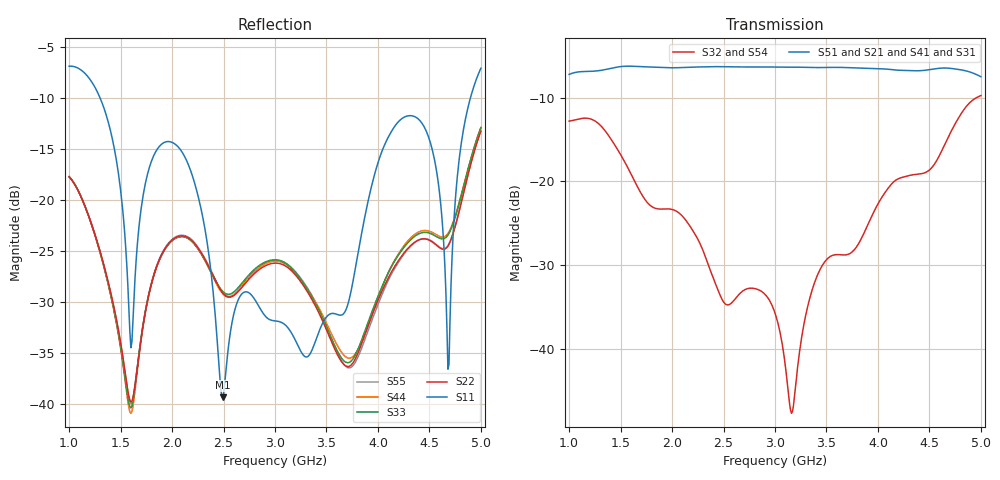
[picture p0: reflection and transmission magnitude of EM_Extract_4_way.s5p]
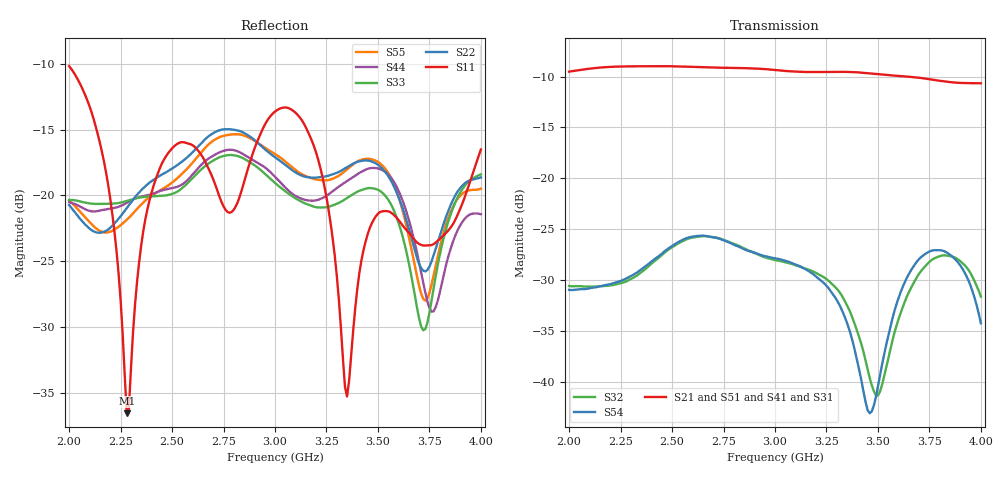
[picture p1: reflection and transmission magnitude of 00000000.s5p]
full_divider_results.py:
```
import skrf as rf
import numpy as np
import matplotlib.pyplot as plt

def main():
    
  line_styles = ['-', '--', ':', '-.']
  line_colors = [f"C{i}" for i in range(20)]
  
  paths = [
    "C:\\Users\\kamaj\\code\\Phased-Array\\src\\awr_output\\correct\\EM_Extract_4_way.s5p",
    "C:\\Users\\kamaj\\code\\Phased-Array\\src\\divider_measurements\\combined\\00000000.s5p", 
    "C:\\Users\\kamaj\\code\\Phased-Array\\src\\awr_output\\correct\\full_00000000.s5p"
  ]
  
  nets = [rf.Network(path) for path in paths]

  fig = plt.figure(figsize=(6, 5))
  ax = fig.add_subplot(1, 1, 1)
  
  ax.plot(nets[0].f / 1e9, nets[0].s_db[:, 0 , 0], linestyle=line_styles[0], color=line_colors[0], label='S11 (4-way EM Extract)')
  ax.plot(nets[1].f / 1e9, nets[1].s_db[:, 0 , 0], linestyle=line_styles[1], color=line_colors[1], label='S11 (4-way Measured)')
  ax.plot(nets[2].f / 1e9, nets[2].s_db[:, 0 , 0], linestyle=line_styles[2], color=line_colors[2], label='S11 (4-way Full Simulated)')
  ax.hlines(-20, xmin=1, xmax=5, colors='black', linestyles=line_styles[2], alpha=0.5)
  
  plt.show()
  
if __name__ == "__main__":
  main()
```
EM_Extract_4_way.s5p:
! AWR Design Environment (19377) Sat Dec 27 02:21:50 2025
! Document = 'EM_Extract_4_way'
! nPorts: 5, nXvals: 401
# GHz S DB R 50
!Freq DBS11 AngS11 DBS12 AngS12 DBS13 AngS13 DBS14 AngS14
!	DBS15 AngS15
!	DBS21 AngS21 DBS22 AngS22 DBS23 AngS23 DBS24 AngS24
!	DBS25 AngS25
!	DBS31 AngS31 DBS32 AngS32 DBS33 AngS33 DBS34 AngS34
!	DBS35 AngS35
!	DBS41 AngS41 DBS42 AngS42 DBS43 AngS43 DBS44 AngS44
!	DBS45 AngS45
!	DBS51 AngS51 DBS52 AngS52 DBS53 AngS53 DBS54 AngS54
!	DBS55 AngS55
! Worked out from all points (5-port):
!   401 points, 1 GHz to 5 GHz, reference 50 ohm
!   strongest paths, dB at 1 GHz, 2 GHz, 3 GHz, 4 GHz, 5 GHz:
!     S51: -7.2, -6.4, -6.3, -6.5, -7.5
!     S21: -7.2, -6.4, -6.3, -6.5, -7.5
!     S41: -7.2, -6.4, -6.4, -6.6, -7.6
!     S31: -7.2, -6.4, -6.4, -6.6, -7.6
!     S32: -12.8, -23.3, -35.7, -22.7, -9.7
!     S54: -12.8, -23.3, -35.9, -22.8, -9.7
!   lowest |S11| = -39.4 dB at 2.49 GHz (marker M1), VSWR 1.02, Z = 49.4 + j0.853 ohm
!   |S11| at or under -10 dB: 1.301 GHz to 4.898 GHz (3.598 GHz wide, 116 % of centre)
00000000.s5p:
! Created with skrf 1.8.0 (http://scikit-rf.org).
# Hz S RI R 50.0
!freq ReS11 ImS11 ReS12 ImS12 ReS13 ImS13
! ReS14 ImS14 ReS15 ImS15
! ReS21 ImS21 ReS22 ImS22 ReS23 ImS23
! ReS24 ImS24 ReS25 ImS25
! ReS31 ImS31 ReS32 ImS32 ReS33 ImS33
! ReS34 ImS34 ReS35 ImS35
! ReS41 ImS41 ReS42 ImS42 ReS43 ImS43
! ReS44 ImS44 ReS45 ImS45
! ReS51 ImS51 ReS52 ImS52 ReS53 ImS53
! ReS54 ImS54 ReS55 ImS55
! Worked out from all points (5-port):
!   201 points, 2 GHz to 4 GHz, reference 50 ohm
!   strongest paths, dB at 2 GHz, 2.5 GHz, 3 GHz, 3.5 GHz, 4 GHz:
!     S21: -9.5, -9.0, -9.3, -9.7, -10.7
!     S51: -9.6, -9.0, -9.4, -9.7, -10.2
!     S41: -9.6, -9.0, -9.4, -9.8, -10.6
!     S31: -9.7, -9.2, -9.6, -9.9, -10.9
!     S54: -31.0, -26.7, -27.9, -40.5, -34.3
!     S32: -30.6, -26.8, -28.0, -41.4, -31.6
!   lowest |S11| = -36.6 dB at 2.28 GHz (marker M1), VSWR 1.03, Z = 48.9 + j1.02 ohm
!   |S11| at or under -10 dB: start of sweep to end of sweep
